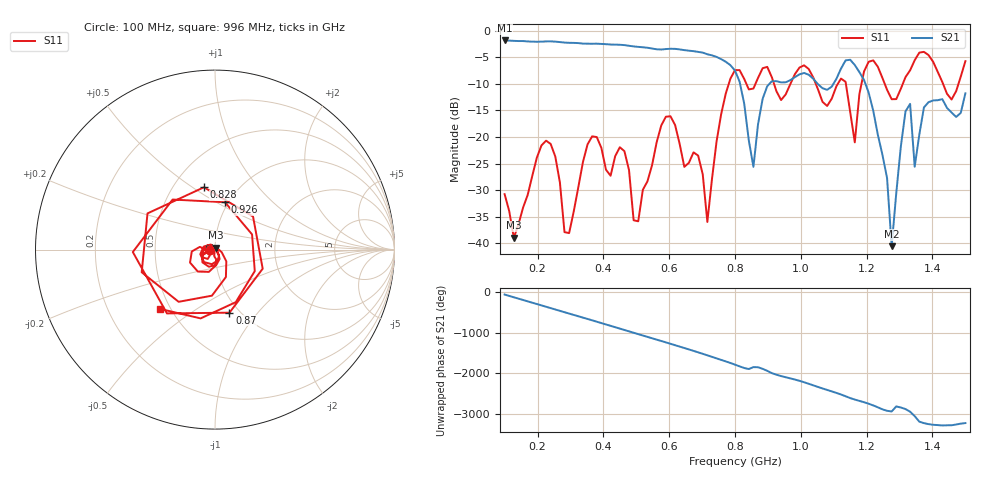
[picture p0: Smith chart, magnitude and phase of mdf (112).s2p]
! NanoVNA-App
! Date: 2025-09-25 15:39:18
! Start: 100MHz Stop: 1,5GHz Points: 101
! S-Parameter data: F S11 S21 S12 S22
# Hz S RI R 50
!  Frequency  S11_Real  S11_Imag  S21_Real  S21_Imag  S12_Real  S12_Imag  S22_Real  S22_Imag
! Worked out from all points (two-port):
!   101 points, 100 MHz to 1.5 GHz, reference 50 ohm
!   highest |S21| = -1.80 dB at 100 MHz (marker M1); lowest = -40.6 dB at 1.276 GHz (marker M2)
!   |S21| within 3 dB of the highest: start of sweep to 739.3 MHz
!   lowest |S11| = -39.0 dB at 128 MHz (marker M3), VSWR 1.02, Z = 50.3 + j1.08 ohm
!   |S11| at or under -10 dB: start of sweep to 781 MHz; 918.7 MHz to 968.3 MHz (49.62 MHz wide, 5.26 % of centre); 1.046 GHz to 1.112 GHz (66.66 MHz wide, 6.18 % of centre) (the widest 3 of 7)
!   S12 and S22 are empty: the file has one direction only
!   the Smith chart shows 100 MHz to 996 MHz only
!   S11 on the Smith chart (normalised r, x): 100 MHz: 0.94, -0.01; 828 MHz: 0.70, +0.56; 870 MHz: 0.90, -0.73; 926 MHz: 0.96, +0.55; 996 MHz: 0.44, -0.36
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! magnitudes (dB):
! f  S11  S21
! 100 MHz  -30.8  -1.8
! 128 MHz  -39.0  -1.9
! 212 MHz  -21.6  -2.0
! 282 MHz  -37.9  -2.2
! 338 MHz  -24.7  -2.4
! 464 MHz  -22.7  -2.7
! 506 MHz  -35.9  -3.0
! 576 MHz  -17.8  -3.5
! 716 MHz  -36.0  -4.4
! 800 MHz  -7.4  -7.5
! 828 MHz  -9.1  -13.7
! 856 MHz  -10.9  -25.6
! 870 MHz  -8.9  -17.6
! 926 MHz  -11.4  -9.5
! 996 MHz  -6.9  -8.2
! 1.038 GHz  -8.8  -9.0
! 1.164 GHz  -21.0  -6.4
! 1.192 GHz  -7.7  -9.3
! 1.276 GHz  -12.9  -40.6
! 1.318 GHz  -8.7  -15.2
! 1.346 GHz  -5.5  -25.6
! 1.5 GHz  -5.7  -11.8
